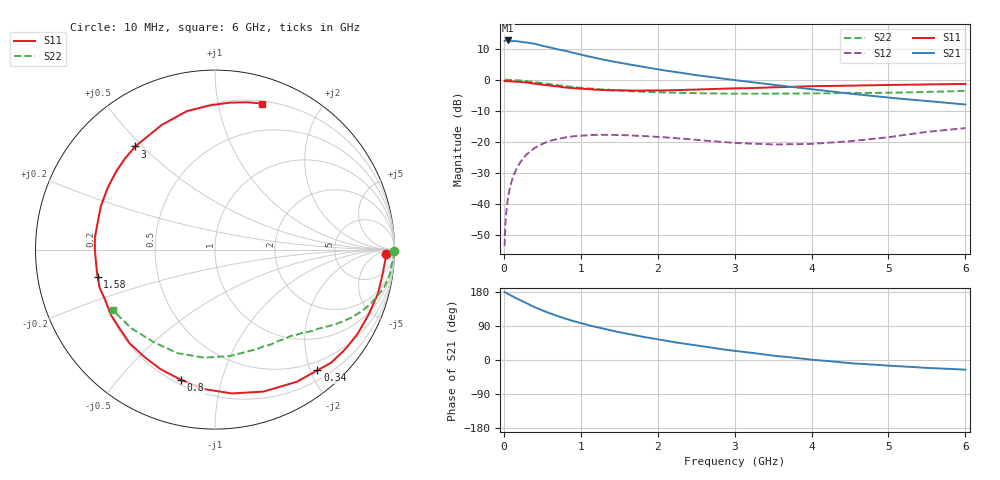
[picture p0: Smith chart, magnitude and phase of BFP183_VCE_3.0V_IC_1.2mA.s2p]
! Infineon Technologies  Discrete & RF Semiconductors
! BFP183
! VCE = 3.0 V,  IC =  1.2 mA
! Common Emitter S-Parameters:  Jan 2016
# GHz  S  MA  R  50
!  f  S11  S21  S12  S22
! GHz  MAG  ANG  MAG  ANG  MAG  ANG  MAG  ANG
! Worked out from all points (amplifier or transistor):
!   210 points, 10 MHz to 6 GHz, reference 50 ohm
!   highest |S21| = 12.6 dB at 50 MHz (marker M1)
!   |S21| within 3 dB of that: start of sweep to 726.7 MHz
!   unconditionally stable (mu >= 1): 2.401 GHz to end of sweep
!   at 185 MHz: K = 0.07, MSG = 20.0 dB, |S12| = -27.7 dB
!   at 1.52 GHz: K = 0.60, MSG = 11.6 dB, |S12| = -17.8 dB
!   at 6 GHz: K = 1.02, MAG = 3.0 dB, |S12| = -15.6 dB
!   S11 on the Smith chart (normalised r, x): 10 MHz: 33, -17; 340 MHz: 0.35, -2.11; 800 MHz: 0.23, -0.75; 1.58 GHz: 0.20, -0.11; 3 GHz: 0.20, +0.48; 6 GHz: 0.22, +1.35
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0.01  0.9532 -1.4  4.211 179.3  0.0021 90.1  0.9998 -0.5
0.02  0.9513 -3.1  4.27 178.6  0.0047 85.7  0.9993 -1.1
0.05  0.9443 -7.9  4.279 174.7  0.0115 86.5  0.995 -2.6
0.095  0.9402 -14.2  4.17 170.1  0.0218 81.0  0.988 -5.0
0.155  0.9282 -23.6  4.174 163.6  0.0346 76.0  0.9828 -8.3
0.24  0.9152 -35.9  4.033 154.8  0.0522 68.8  0.9646 -12.6
0.34  0.8819 -49.7  3.88 145.5  0.0698 60.4  0.9332 -17.0
0.4  0.8661 -58.2  3.789 139.3  0.0797 56.0  0.9153 -19.6
0.5  0.836 -71.1  3.513 130.7  0.0927 49.0  0.8801 -23.4
0.6  0.8072 -83.2  3.307 123.0  0.104 42.7  0.8489 -26.5
0.8  0.7504 -104.5  2.911 109.0  0.1183 32.2  0.7898 -31.7
1.02  0.7125 -125.1  2.49 96.2  0.1261 23.1  0.737 -36.3
1.3  0.6847 -147.8  2.094 82.4  0.13 14.0  0.6943 -41.1
1.58  0.6712 -167.0  1.806 70.2  0.1283 7.4  0.6623 -45.4
2.02  0.6707 168.0  1.451 53.8  0.1204 0.9  0.6288 -52.4
2.4  0.6902 150.0  1.235 41.3  0.1107 -2.4  0.6137 -59.4
3  0.7267 127.7  0.99 23.9  0.0961 -0.5  0.5964 -71.5
3.1  0.7286 124.7  0.955 21.8  0.095 0.7  0.5952 -73.7
3.5  0.7555 113.1  0.83 11.5  0.091 6.0  0.599 -82.5
4.1  0.789 99.4  0.683 -0.8  0.0946 15.9  0.6038 -98.6
5.1  0.8254 82.9  0.502 -16.0  0.1239 26.6  0.6201 -126.2
6  0.8556 72.0  0.399 -25.5  0.1665 23.0  0.6624 -149.4
